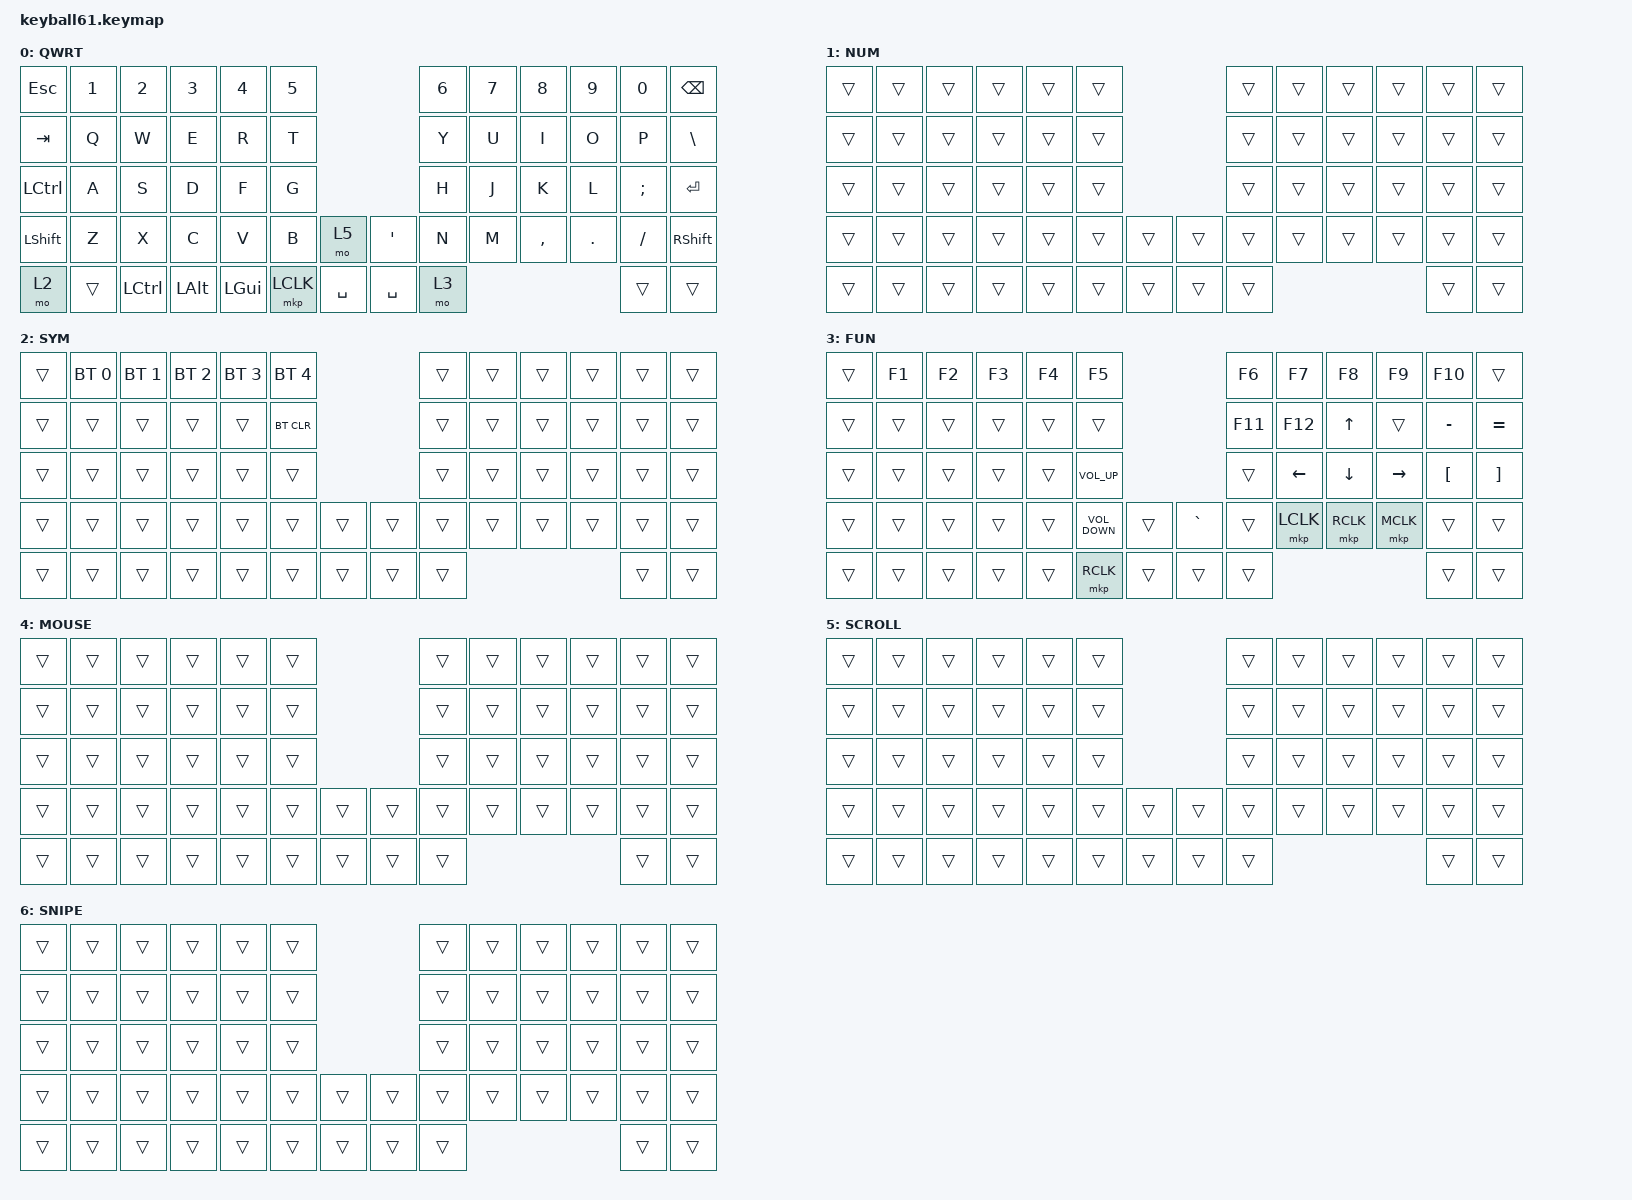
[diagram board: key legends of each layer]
#define DEFAULT 0
#define SYM     1
#define FUN     2
#define MOUSE   3
#define SCROLL  4
#define SNIPE   5

#include <behaviors/mouse_keys.dtsi>
#include <dt-bindings/zmk/mouse.h>
#include <behaviors.dtsi>
#include <dt-bindings/zmk/bt.h>
#include <dt-bindings/zmk/keys.h>
#include <dt-bindings/zmk/pointing.h>

&lt {
    tapping-term-ms = <240>;
    flavor = "balanced";
    quick-tap-ms = <150>;
};

&mt {
    tapping-term-ms = <200>;
    flavor = "tap-preferred";
    quick-tap-ms = <150>;
};

/ {
    combos {
        compatible = "zmk,combos";

        mouse_prev {
            bindings = <&mkp MB4>;
            key-positions = <45 43 44>;
        };

        mouse_next {
            bindings = <&mkp MB5>;
            key-positions = <46 44 45>;
        };

        mouse_scroll {
            bindings = <&mo 5>;
            key-positions = <45 46>;
        };
    };

    keymap {
        compatible = "zmk,keymap";

        default_layer {
            label = "QWRT";
            bindings = <
&kp ESC           &kp N1  &kp N2            &kp N3        &kp N4        &kp N5                                  &kp N6  &kp N7  &kp N8     &kp N9   &kp N0    &kp BSPC
&kp TAB           &kp Q   &kp W             &kp E         &kp R         &kp T                                   &kp Y   &kp U   &kp I      &kp O    &kp P     &kp BACKSLASH
&kp LEFT_CONTROL  &kp A   &kp S             &kp D         &kp F         &kp G                                   &kp H   &kp J   &kp K      &kp L    &kp SEMI  &kp RETURN
&kp LEFT_SHIFT    &kp Z   &kp X             &kp C         &kp V         &kp B      &mo 5      &kp SINGLE_QUOTE  &kp N   &kp M   &kp COMMA  &kp DOT  &kp FSLH  &kp RIGHT_SHIFT
&mo 2             &trans  &kp LEFT_CONTROL  &kp LEFT_ALT  &kp LEFT_GUI  &mkp LCLK  &kp SPACE  &kp SPACE         &mo 3                               &trans    &trans
            >;
        };

        number_layer {
            bindings = <
&trans  &trans  &trans  &trans  &trans  &trans                  &trans  &trans  &trans  &trans  &trans  &trans
&trans  &trans  &trans  &trans  &trans  &trans                  &trans  &trans  &trans  &trans  &trans  &trans
&trans  &trans  &trans  &trans  &trans  &trans                  &trans  &trans  &trans  &trans  &trans  &trans
&trans  &trans  &trans  &trans  &trans  &trans  &trans  &trans  &trans  &trans  &trans  &trans  &trans  &trans
&trans  &trans  &trans  &trans  &trans  &trans  &trans  &trans  &trans                          &trans  &trans
            >;

            label = "NUM";
        };

        symbol_layer {
            label = "SYM";
            bindings = <
&trans  &bt BT_SEL 0  &bt BT_SEL 1  &bt BT_SEL 2  &bt BT_SEL 3  &bt BT_SEL 4                  &trans  &trans  &trans  &trans  &trans  &trans
&trans  &trans        &trans        &trans        &trans        &bt BT_CLR                    &trans  &trans  &trans  &trans  &trans  &trans
&trans  &trans        &trans        &trans        &trans        &trans                        &trans  &trans  &trans  &trans  &trans  &trans
&trans  &trans        &trans        &trans        &trans        &trans        &trans  &trans  &trans  &trans  &trans  &trans  &trans  &trans
&trans  &trans        &trans        &trans        &trans        &trans        &trans  &trans  &trans                          &trans  &trans
            >;
        };

        function_layer {
            label = "FUN";
            bindings = <
&trans  &kp F1  &kp F2  &kp F3  &kp F4  &kp F5                                &kp F6   &kp F7          &kp F8          &kp F9           &kp F10           &trans
&trans  &trans  &trans  &trans  &trans  &trans                                &kp F11  &kp F12         &kp UP_ARROW    &trans           &kp MINUS         &kp EQUAL
&trans  &trans  &trans  &trans  &trans  &kp C_VOLUME_UP                       &trans   &kp LEFT_ARROW  &kp DOWN_ARROW  &kp RIGHT_ARROW  &kp LEFT_BRACKET  &kp RIGHT_BRACKET
&trans  &trans  &trans  &trans  &trans  &kp C_VOLUME_DOWN  &trans  &kp GRAVE  &trans   &mkp LCLK       &mkp RCLK       &mkp MCLK        &trans            &trans
&trans  &trans  &trans  &trans  &trans  &mkp RCLK          &trans  &trans     &trans                                                    &trans            &trans
            >;
        };

        mouse_layer {
            label = "MOUSE";
            bindings = <
&trans  &trans  &trans  &trans  &trans  &trans                  &trans  &trans  &trans  &trans  &trans  &trans
&trans  &trans  &trans  &trans  &trans  &trans                  &trans  &trans  &trans  &trans  &trans  &trans
&trans  &trans  &trans  &trans  &trans  &trans                  &trans  &trans  &trans  &trans  &trans  &trans
&trans  &trans  &trans  &trans  &trans  &trans  &trans  &trans  &trans  &trans  &trans  &trans  &trans  &trans
&trans  &trans  &trans  &trans  &trans  &trans  &trans  &trans  &trans                          &trans  &trans
            >;
        };

        scroll_layer {
            label = "SCROLL";
            bindings = <
&trans  &trans  &trans  &trans  &trans  &trans                  &trans  &trans  &trans  &trans  &trans  &trans
&trans  &trans  &trans  &trans  &trans  &trans                  &trans  &trans  &trans  &trans  &trans  &trans
&trans  &trans  &trans  &trans  &trans  &trans                  &trans  &trans  &trans  &trans  &trans  &trans
&trans  &trans  &trans  &trans  &trans  &trans  &trans  &trans  &trans  &trans  &trans  &trans  &trans  &trans
&trans  &trans  &trans  &trans  &trans  &trans  &trans  &trans  &trans                          &trans  &trans
            >;
        };

        snipe_layer {
            label = "SNIPE";
            bindings = <
&trans  &trans  &trans  &trans  &trans  &trans                  &trans  &trans  &trans  &trans  &trans  &trans
&trans  &trans  &trans  &trans  &trans  &trans                  &trans  &trans  &trans  &trans  &trans  &trans
&trans  &trans  &trans  &trans  &trans  &trans                  &trans  &trans  &trans  &trans  &trans  &trans
&trans  &trans  &trans  &trans  &trans  &trans  &trans  &trans  &trans  &trans  &trans  &trans  &trans  &trans
&trans  &trans  &trans  &trans  &trans  &trans  &trans  &trans  &trans                          &trans  &trans
            >;
        };
    };
};
